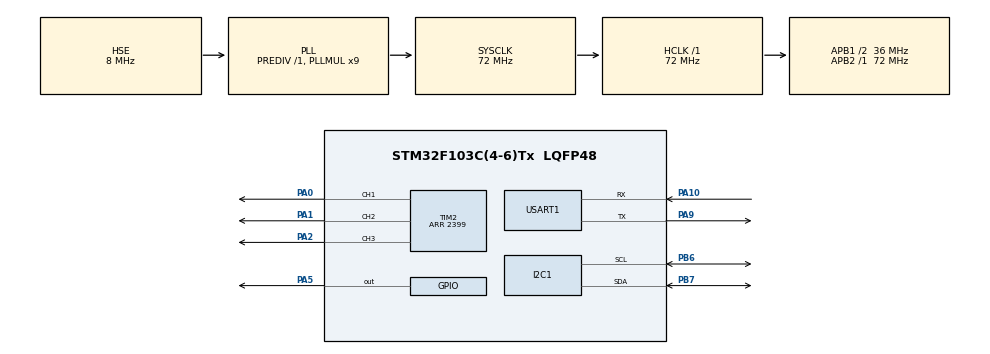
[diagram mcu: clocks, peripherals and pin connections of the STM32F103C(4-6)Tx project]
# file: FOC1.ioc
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I2C1.I2C_Mode=I2C_Fast
Mcu.Family=STM32F1
Mcu.Name=STM32F103C(4-6)Tx
Mcu.Package=LQFP48
NVIC.PriorityGroup=NVIC_PRIORITYGROUP_4
PA0-WKUP.Signal=S_TIM2_CH1_ETR
PA1.Signal=S_TIM2_CH2
PA10.Mode=Asynchronous
PA10.Signal=USART1_RX
PA2.Signal=S_TIM2_CH3
PA5.PinState=GPIO_PIN_SET
PA5.Signal=GPIO_Output
PA9.Mode=Asynchronous
PA9.Signal=USART1_TX
PB6.Mode=I2C
PB6.Signal=I2C1_SCL
PB7.Mode=I2C
PB7.Signal=I2C1_SDA
PD0-OSC_IN.Mode=HSE-External-Oscillator
PD0-OSC_IN.Signal=RCC_OSC_IN
PD1-OSC_OUT.Mode=HSE-External-Oscillator
PD1-OSC_OUT.Signal=RCC_OSC_OUT
ProjectManager.HeapSize=0x200
ProjectManager.StackSize=0x400
ProjectManager.TargetToolchain=MDK-ARM V5
RCC.AHBFreq_Value=72000000
RCC.APB1CLKDivider=RCC_HCLK_DIV2
RCC.APB1Freq_Value=36000000
RCC.APB1TimFreq_Value=72000000
RCC.APB2Freq_Value=72000000
RCC.APB2TimFreq_Value=72000000
RCC.HCLKFreq_Value=72000000
RCC.PLLMUL=RCC_PLL_MUL9
RCC.PLLSourceVirtual=RCC_PLLSOURCE_HSE
RCC.SYSCLKFreq_VALUE=72000000
RCC.SYSCLKSource=RCC_SYSCLKSOURCE_PLLCLK
RCC.USBFreq_Value=72000000
SH.S_TIM2_CH1_ETR.0=TIM2_CH1,PWM Generation1 CH1
SH.S_TIM2_CH2.0=TIM2_CH2,PWM Generation2 CH2
SH.S_TIM2_CH3.0=TIM2_CH3,PWM Generation3 CH3
TIM2.Channel-PWM\ Generation1\ CH1=TIM_CHANNEL_1
TIM2.Channel-PWM\ Generation2\ CH2=TIM_CHANNEL_2
TIM2.Channel-PWM\ Generation3\ CH3=TIM_CHANNEL_3
TIM2.Period=2399
USART1.VirtualMode=VM_ASYNC
VP_SYS_VS_ND.Mode=No_Debug
board=custom

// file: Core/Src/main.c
/* USER CODE BEGIN Header */
/**
 ******************************************************************************
 * @file           : main.c
 * @brief          : Main program body
 ******************************************************************************
 * @attention
 *
 * Copyright (c) 2023 STMicroelectronics.
 * All rights reserved.
 *
 * This software is licensed under terms that can be found in the LICENSE file
 * in the root directory of this software component.
 * If no LICENSE file comes with this software, it is provided AS-IS.
 *
 ******************************************************************************
 */
/* USER CODE END Header */
#include "main.h"
#include "i2c.h"
#include "tim.h"
#include "usart.h"
#include "gpio.h"

/* USER CODE BEGIN Includes */
#include "string.h"
#include <stdio.h>
#include "math.h"
#include "pid.h"
#include "lowpass_filter.h"
/* USER CODE END Includes */

/* USER CODE BEGIN PD */
#define _constrain(amt, low, high) ((amt) < (low) ? (low) : ((amt) > (high) ? (high) : (amt)))
#define PI 3.14
/* USER CODE END PD */

/* USER CODE BEGIN PV */
float voltage_limit = 6;
float voltage_power_supply = 12.6;
float shaft_angle = 0, open_loop_timestamp = 0;
float zero_electric_angle = 0, Ualpha, Ubeta = 0, Ua = 0, Ub = 0, Uc = 0, dc_a = 0, dc_b = 0, dc_c = 0;
float Kp = 0.2;
float _normalizeAngle(float angle);
float motor_target = 3.14;

/* USER CODE END PV */

void SystemClock_Config(void);

/* USER CODE BEGIN 0 */
void systick_CountMode(void)
{
  SysTick->LOAD = 0xFFFFFF - 1; // set reload register
  SysTick->VAL = 0;
  SysTick->CTRL = SysTick_CTRL_ENABLE_Msk; // Enable SysTick Timer
}

int PP = 7, DIR = -1;
float _electricalAngle()
{
  return _normalizeAngle((float)(DIR * PP) * GetAngle_without_track() - zero_electric_angle);
}

// 归一化角度到 [0,2PI]
float _normalizeAngle(float angle)
{
  float a = fmod(angle, 2 * PI); // 取余运算可以用于归一化，列出特殊值例子算便知
  return a >= 0 ? a : (a + 2 * PI);
}

void setPWM(float Ua, float Ub, float Uc)
{
  // 限制上限
  Ua = _constrain(Ua, 0.f, voltage_limit);
  Ub = _constrain(Ub, 0.f, voltage_limit);
  Uc = _constrain(Uc, 0.f, voltage_limit);
  // 计算占空比
  // 限制占空比在0~1
  dc_a = _constrain(Ua / voltage_power_supply, 0.f, 1.f);
  dc_b = _constrain(Ub / voltage_power_supply, 0.f, 1.f);
  dc_c = _constrain(Uc / voltage_power_supply, 0.f, 1.f);

  char buffer[12];
  sprintf(buffer, "%f", dc_b);
  HAL_UART_Transmit(&huart1, "\r\n", strlen("\r\n"), 0xFFFF);
  HAL_UART_Transmit(&huart1, (uint8_t *)buffer, strlen(buffer), 0xFFFF);

  __HAL_TIM_SetCompare(&htim2, TIM_CHANNEL_1, dc_a * 2399);
  __HAL_TIM_SetCompare(&htim2, TIM_CHANNEL_2, dc_b * 2399);
  __HAL_TIM_SetCompare(&htim2, TIM_CHANNEL_3, dc_c * 2399);
}

void setTorque(float Uq, float angle_el)
{
  Sensor_update();
  Uq = _constrain(Uq, -(voltage_power_supply) / 2, (voltage_power_supply) / 2);
  float Ud = 0;
  angle_el = _normalizeAngle(angle_el);
  // 帕克逆变换
  Ualpha = -Uq * sin(angle_el);
  Ubeta = Uq * cos(angle_el);

  // 克拉克逆变换
  Ua = Ualpha + voltage_power_supply / 2;
  Ub = (sqrt(3) * Ubeta - Ualpha) / 2 + voltage_power_supply / 2;
  Uc = (-Ualpha - sqrt(3) * Ubeta) / 2 + voltage_power_supply / 2;
  setPWM(Ua, Ub, Uc);
}

float M0_Velocity()
{
  char buffer[12];
  sprintf(buffer, "%f", GetVelocity());
  HAL_UART_Transmit(&huart1, "\r\n", strlen("\r\n"), 0xFFFF);
  HAL_UART_Transmit(&huart1, (uint8_t *)buffer, strlen(buffer), 0xFFFF);
  return lowpass_filter_operator(DIR * GetVelocity());
}

void DFOC_M0_setVelocity(float Target)
{
  setTorque(((motor_target - M0_Velocity()) * 180 / _PI), _electricalAngle());
}
/* USER CODE END 0 */

int main(void)
{

  /* MCU Configuration--------------------------------------------------------*/

  /* Reset of all peripherals, Initializes the Flash interface and the Systick. */
  HAL_Init();

  /* Configure the system clock */
  SystemClock_Config();

  /* Initialize all configured peripherals */
  MX_GPIO_Init();
  MX_TIM2_Init();
  MX_USART1_UART_Init();
  MX_I2C1_Init();
  /* USER CODE BEGIN 2 */
  HAL_TIM_PWM_Start(&htim2, TIM_CHANNEL_1); // 开启三个PWM通道输出
  HAL_TIM_PWM_Start(&htim2, TIM_CHANNEL_2);
  HAL_TIM_PWM_Start(&htim2, TIM_CHANNEL_3);
  systick_CountMode();
  lowpass_filter_init(0.01);
  bsp_as5600Init();
  PIDInit(0.005, 0.01, 0, 0, voltage_power_supply / 2);

  setTorque(3, _3PI_2);
  Sensor_update();
  zero_electric_angle = _electricalAngle();
  setTorque(0, _3PI_2);
  HAL_UART_Transmit(&huart1, "\r\n", strlen("\r\n"), 0xFFFF);
  HAL_UART_Transmit(&huart1, "Zero electrical angle:", strlen("Zero electrical angle:"), 0xFFFF);
  char buffer[12];
  sprintf(buffer, "%f", zero_electric_angle);
  HAL_UART_Transmit(&huart1, "\r\n", strlen("\r\n"), 0xFFFF);
  HAL_UART_Transmit(&huart1, (uint8_t *)buffer, strlen(buffer), 0xFFFF);

  /* USER CODE END 2 */

  /* Infinite loop */
  /* USER CODE BEGIN WHILE */
  while (1)
  {
    angle_prev_ts = SysTick->VAL;
    // GetVelocity();
    //    char buffer[12];
    //    sprintf(buffer, "%f", GetVelocity());
    //    HAL_UART_Transmit(&huart1, "\r\n", strlen("\r\n"), 0xFFFF);
    //    HAL_UART_Transmit(&huart1, (uint8_t *)buffer, strlen(buffer), 0xFFFF);
    // setTorque(_constrain(Kp * (motor_target - DIR * Sensor_Angle) * 180 / _PI, -6, 6), _electricalAngle());
    // setTorque(6, _electricalAngle());
    setTorque(PIDOperator((25 - M0_Velocity()) * 180 / _PI), _electricalAngle());
    /* USER CODE END WHILE */

  }
}

void SystemClock_Config(void)
{
  RCC_OscInitTypeDef RCC_OscInitStruct = {0};
  RCC_ClkInitTypeDef RCC_ClkInitStruct = {0};

  /** Initializes the RCC Oscillators according to the specified parameters
   * in the RCC_OscInitTypeDef structure.
   */
  RCC_OscInitStruct.OscillatorType = RCC_OSCILLATORTYPE_HSE;
  RCC_OscInitStruct.HSEState = RCC_HSE_ON;
  RCC_OscInitStruct.HSEPredivValue = RCC_HSE_PREDIV_DIV1;
  RCC_OscInitStruct.HSIState = RCC_HSI_ON;
  RCC_OscInitStruct.PLL.PLLState = RCC_PLL_ON;
  RCC_OscInitStruct.PLL.PLLSource = RCC_PLLSOURCE_HSE;
  RCC_OscInitStruct.PLL.PLLMUL = RCC_PLL_MUL9;
  if (HAL_RCC_OscConfig(&RCC_OscInitStruct) != HAL_OK)
  {
    Error_Handler();
  }

  /** Initializes the CPU, AHB and APB buses clocks
   */
  RCC_ClkInitStruct.ClockType = RCC_CLOCKTYPE_HCLK | RCC_CLOCKTYPE_SYSCLK | RCC_CLOCKTYPE_PCLK1 | RCC_CLOCKTYPE_PCLK2;
  RCC_ClkInitStruct.SYSCLKSource = RCC_SYSCLKSOURCE_PLLCLK;
  RCC_ClkInitStruct.AHBCLKDivider = RCC_SYSCLK_DIV1;
  RCC_ClkInitStruct.APB1CLKDivider = RCC_HCLK_DIV2;
  RCC_ClkInitStruct.APB2CLKDivider = RCC_HCLK_DIV1;

  if (HAL_RCC_ClockConfig(&RCC_ClkInitStruct, FLASH_LATENCY_2) != HAL_OK)
  {
    Error_Handler();
  }
}

void Error_Handler(void)
{
  __disable_irq();
  while (1)
  {
  }
}
